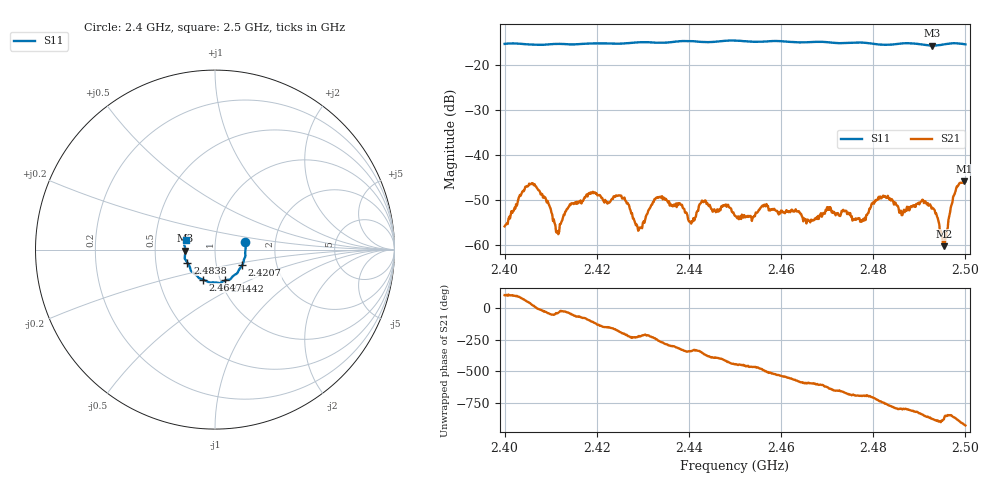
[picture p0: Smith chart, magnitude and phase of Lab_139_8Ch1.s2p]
# Hz S RI R 50
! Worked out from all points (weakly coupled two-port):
!   601 points, 2.4 GHz to 2.5 GHz, reference 50 ohm
!   highest |S21| = -45.83 dB at 2.4997 GHz (marker M1); lowest = -60.3 dB at 2.4953 GHz (marker M2)
!   lowest |S11| = -15.6 dB at 2.4928 GHz (marker M3), VSWR 1.40, Z = 35.8 - j0.389 ohm
!   |S11| at or under -10 dB: start of sweep to end of sweep
!   S12 and S22 are empty: the file has one direction only
!   S11 on the Smith chart (normalised r, x): 2.4 GHz: 1.40, +0.12; 2.4207 GHz: 1.33, -0.24; 2.4442 GHz: 1.05, -0.37; 2.4647 GHz: 0.83, -0.29; 2.4838 GHz: 0.73, -0.11; 2.5 GHz: 0.72, +0.08
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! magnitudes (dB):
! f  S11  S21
! 2.4 GHz  -15.2  -55.9
! 2.4057 GHz  -15.4  -46.5
! 2.4113 GHz  -15.3  -57.3
! 2.4167 GHz  -15.2  -50.8
! 2.4207 GHz  -15.1  -48.9
! 2.4255 GHz  -15.2  -49.7
! 2.4293 GHz  -14.9  -56.1
! 2.4333 GHz  -15.0  -49.5
! 2.4403 GHz  -14.6  -55.0
! 2.4442 GHz  -14.9  -51.1
! 2.45 GHz  -14.5  -53.5
! 2.4647 GHz  -14.9  -53.9
! 2.4667 GHz  -14.8  -54.4
! 2.4703 GHz  -14.9  -51.6
! 2.4777 GHz  -14.9  -54.6
! 2.4833 GHz  -15.4  -49.5
! 2.4838 GHz  -15.4  -50.1
! 2.4928 GHz  -15.6  -51.7
! 2.4953 GHz  -15.4  -60.3
! 2.4978 GHz  -15.1  -48.1
! 2.4997 GHz  -15.3  -45.8
! 2.5 GHz  -15.3  -45.9
